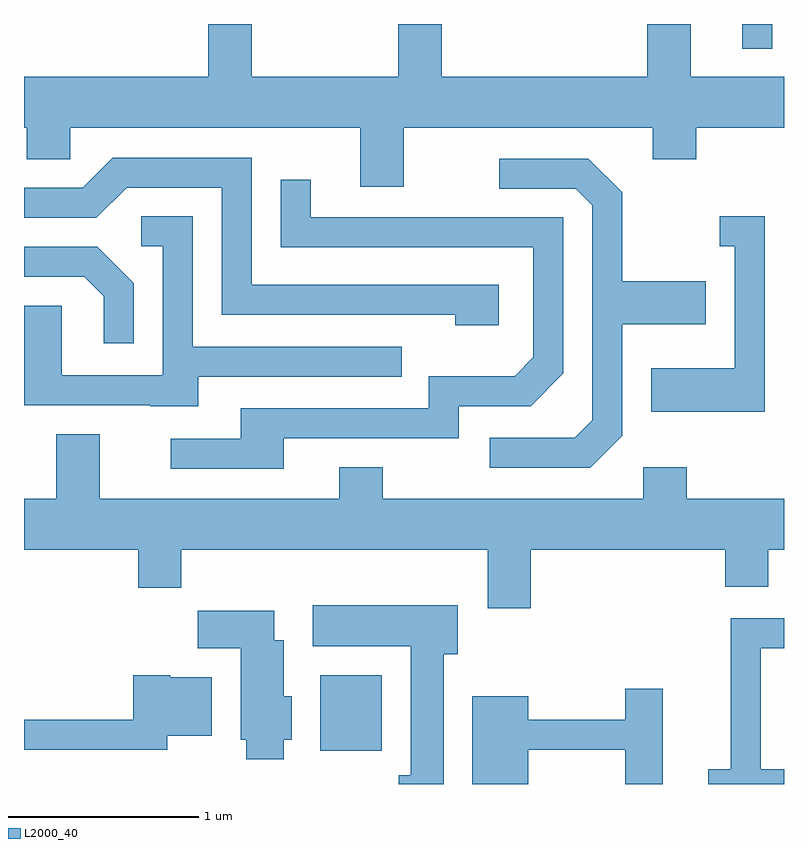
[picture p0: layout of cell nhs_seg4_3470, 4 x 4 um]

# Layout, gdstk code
import gdstk
lib = gdstk.Library(unit=1e-6, precision=1e-09)
def R(c, l, rs):  # rectangles x0, y0, x1, y1
    for r in rs: c.add(gdstk.rectangle(r[:2], r[2:], *l))
def P(c, l, *ps):  # polygons
    for p in ps: c.add(gdstk.Polygon(p, *l))
L2000_40 = (2000, 40)

nhs_seg4_3470 = lib.new_cell('nhs_seg4_3470')
R(nhs_seg4_3470, L2000_40, [(289.171,1258.156,289.494,1258.554), (291.391,1261.853,291.549,1261.982)])
P(nhs_seg4_3470, L2000_40, [(289.609,1261.436),(290.921,1261.436),(290.921,1261.271),(291.149,1261.271),(291.149,1261.436),(291.611,1261.436),(291.611,1261.704),(291.119,1261.704),(291.119,1261.982),(290.891,1261.982),(290.891,1261.704),(289.809,1261.704),(289.809,1261.982),(289.581,1261.982),(289.581,1261.704),(288.809,1261.704),(288.809,1261.982),(288.581,1261.982),(288.581,1261.704),(287.611,1261.704),(287.611,1261.436),(287.626,1261.436),(287.626,1261.271),(287.854,1261.271),(287.854,1261.436),(289.381,1261.436),(289.381,1261.126),(289.609,1261.126)],
  [(290.109,1260.609),(288.809,1260.609),(288.809,1261.279),(288.079,1261.279),(287.919,1261.119),(287.611,1261.119),(287.611,1260.961),(287.992,1260.961),(288.152,1261.121),(288.651,1261.121),(288.651,1260.451),(289.881,1260.451),(289.881,1260.396),(290.109,1260.396)],
  [(290.759,1259.814),(290.759,1260.401),(291.199,1260.401),(291.199,1260.629),(290.759,1260.629),(290.759,1261.097),(290.582,1261.274),(290.113,1261.274),(290.113,1261.116),(290.514,1261.116),(290.601,1261.029),(290.601,1259.897),(290.509,1259.804),(290.063,1259.804),(290.063,1259.646),(290.592,1259.646)],
  [(288.979,1259.801),(289.899,1259.801),(289.899,1259.971),(290.277,1259.971),(290.449,1260.144),(290.449,1260.964),(289.119,1260.964),(289.119,1261.163),(288.961,1261.163),(288.961,1260.806),(290.291,1260.806),(290.291,1260.227),(290.194,1260.129),(289.741,1260.129),(289.741,1259.959),(288.751,1259.959),(288.751,1259.799),(288.383,1259.799),(288.383,1259.641),(288.979,1259.641)],
  [(288.529,1260.126),(289.598,1260.126),(289.598,1260.284),(288.499,1260.284),(288.499,1260.969),(288.228,1260.969),(288.228,1260.811),(288.341,1260.811),(288.341,1260.134),(287.809,1260.134),(287.809,1260.499),(287.611,1260.499),(287.611,1259.976),(288.275,1259.976),(288.275,1259.971),(288.529,1259.971)],
  [(291.509,1260.969),(291.273,1260.969),(291.273,1260.811),(291.351,1260.811),(291.351,1260.169),(290.911,1260.169),(290.911,1259.941),(291.509,1259.941)],
  [(288.189,1260.617),(287.997,1260.809),(287.611,1260.809),(287.611,1260.651),(287.929,1260.651),(288.031,1260.549),(288.031,1260.303),(288.189,1260.303)],
  [(290.279,1259.216),(291.301,1259.216),(291.301,1259.021),(291.529,1259.021),(291.529,1259.216),(291.611,1259.216),(291.611,1259.484),(291.099,1259.484),(291.099,1259.649),(290.871,1259.649),(290.871,1259.484),(289.499,1259.484),(289.499,1259.649),(289.271,1259.649),(289.271,1259.484),(288.009,1259.484),(288.009,1259.824),(287.781,1259.824),(287.781,1259.484),(287.611,1259.484),(287.611,1259.216),(288.211,1259.216),(288.211,1259.016),(288.439,1259.016),(288.439,1259.216),(290.051,1259.216),(290.051,1258.906),(290.279,1258.906)],
  [(289.819,1258.666),(289.894,1258.666),(289.894,1258.924),(289.131,1258.924),(289.131,1258.706),(289.646,1258.706),(289.646,1258.029),(289.583,1258.029),(289.583,1257.982),(289.819,1257.982)],
  [(288.979,1258.216),(289.019,1258.216),(289.019,1258.444),(288.979,1258.444),(288.979,1258.739),(288.929,1258.739),(288.929,1258.894),(288.526,1258.894),(288.526,1258.696),(288.751,1258.696),(288.751,1258.216),(288.781,1258.216),(288.781,1258.111),(288.979,1258.111)],
  [(291.611,1258.059),(291.489,1258.059),(291.489,1258.696),(291.611,1258.696),(291.611,1258.854),(291.331,1258.854),(291.331,1258.059),(291.211,1258.059),(291.211,1257.982),(291.611,1257.982)],
  [(288.364,1258.236),(288.599,1258.236),(288.599,1258.544),(288.38,1258.544),(288.38,1258.554),(288.186,1258.554),(288.186,1258.319),(287.611,1258.319),(287.611,1258.161),(288.364,1258.161)],
  [(290.264,1258.161),(290.776,1258.161),(290.776,1257.982),(290.974,1257.982),(290.974,1258.484),(290.776,1258.484),(290.776,1258.319),(290.264,1258.319),(290.264,1258.444),(289.971,1258.444),(289.971,1257.982),(290.264,1257.982)])

lib.write_gds('nhs_seg4_3470.gds')
